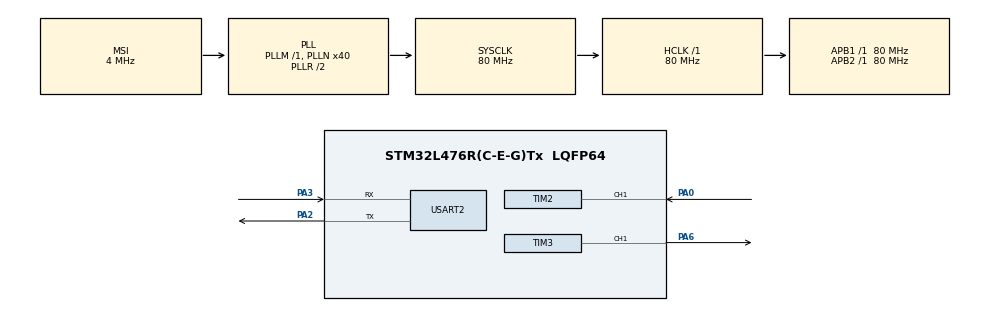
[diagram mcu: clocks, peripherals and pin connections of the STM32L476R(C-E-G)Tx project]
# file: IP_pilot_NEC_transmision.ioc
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Dma.Request0=TIM3_CH1/TRIG
Dma.TIM3_CH1/TRIG.0.Direction=DMA_MEMORY_TO_PERIPH
Dma.TIM3_CH1/TRIG.0.Instance=DMA1_Channel6
Dma.TIM3_CH1/TRIG.0.MemDataAlignment=DMA_MDATAALIGN_BYTE
Dma.TIM3_CH1/TRIG.0.MemInc=DMA_MINC_ENABLE
Dma.TIM3_CH1/TRIG.0.Mode=DMA_NORMAL
Dma.TIM3_CH1/TRIG.0.PeriphDataAlignment=DMA_PDATAALIGN_HALFWORD
Dma.TIM3_CH1/TRIG.0.PeriphInc=DMA_PINC_DISABLE
Dma.TIM3_CH1/TRIG.0.Priority=DMA_PRIORITY_LOW
Mcu.Family=STM32L4
Mcu.Name=STM32L476R(C-E-G)Tx
Mcu.Package=LQFP64
NVIC.DMA1_Channel6_IRQn=true\:0\:0\:false\:false\:true\:false\:true\:true
NVIC.PriorityGroup=NVIC_PRIORITYGROUP_4
NVIC.TIM2_IRQn=true\:0\:0\:false\:false\:true\:true\:true\:true
PA0.Signal=S_TIM2_CH1
PA13\ (JTMS-SWDIO).Mode=Serial_Wire
PA13\ (JTMS-SWDIO).Signal=SYS_JTMS-SWDIO
PA14\ (JTCK-SWCLK).Mode=Serial_Wire
PA14\ (JTCK-SWCLK).Signal=SYS_JTCK-SWCLK
PA2.Mode=Asynchronous
PA2.Signal=USART2_TX
PA3.Mode=Asynchronous
PA3.Signal=USART2_RX
PA6.Signal=S_TIM3_CH1
ProjectManager.HeapSize=0x200
ProjectManager.StackSize=0x400
ProjectManager.TargetToolchain=STM32CubeIDE
RCC.AHBFreq_Value=80000000
RCC.APB1Freq_Value=80000000
RCC.APB1TimFreq_Value=80000000
RCC.APB2Freq_Value=80000000
RCC.APB2TimFreq_Value=80000000
RCC.CortexFreq_Value=80000000
RCC.HCLKFreq_Value=80000000
RCC.HSE_VALUE=8000000
RCC.HSI_VALUE=16000000
RCC.LSE_VALUE=32768
RCC.MSI_VALUE=4000000
RCC.PLLN=40
RCC.SYSCLKFreq_VALUE=80000000
RCC.SYSCLKSource=RCC_SYSCLKSOURCE_PLLCLK
RCC.VCOOutputFreq_Value=160000000
SH.S_TIM2_CH1.0=TIM2_CH1,TriggerSource_TI1ED
SH.S_TIM2_CH1.1=TIM2_CH1,Input_Capture1_from_TI1
SH.S_TIM3_CH1.0=TIM3_CH1,PWM Generation1 CH1
TIM2.Channel-Input_Capture1_from_TI1=TIM_CHANNEL_1
TIM2.ICPolarity_CH1=TIM_INPUTCHANNELPOLARITY_FALLING
TIM2.Prescaler=79
TIM3.Channel-PWM\ Generation1\ CH1=TIM_CHANNEL_1
TIM3.Period=99
USART2.VirtualMode-Asynchronous=VM_ASYNC
VP_TIM2_VS_ClockSourceINT.Mode=Internal
VP_TIM2_VS_ControllerModeReset.Mode=Reset Mode
VP_TIM3_VS_ClockSourceINT.Mode=Internal
board=custom

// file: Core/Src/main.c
/* USER CODE BEGIN Header */
/**
  ******************************************************************************
  * @file           : main.c
  * @brief          : Main program body
  ******************************************************************************
  * @attention
  *
  * Copyright (c) 2024 STMicroelectronics.
  * All rights reserved.
  *
  * This software is licensed under terms that can be found in the LICENSE file
  * in the root directory of this software component.
  * If no LICENSE file comes with this software, it is provided AS-IS.
  *
  ******************************************************************************
  */
/* USER CODE END Header */
#include "main.h"
#include "dma.h"
#include "tim.h"
#include "usart.h"
#include "gpio.h"

/* USER CODE BEGIN Includes */
#include <stdio.h>
#include "ir.h"
#include "ws2812b.h"

/* USER CODE END Includes */

void SystemClock_Config(void);

/* USER CODE BEGIN 0 */

int __io_putchar(int ch)
{
  if (ch == '\n') {
    __io_putchar('\r');
  }

  HAL_UART_Transmit(&huart2, (uint8_t*)&ch, 1, HAL_MAX_DELAY);

  return 1;
}

void HAL_TIM_IC_CaptureCallback(TIM_HandleTypeDef *htim)
{
  if (htim == &htim2)
  {
    switch (HAL_TIM_GetActiveChannel(&htim2))
    {
      case HAL_TIM_ACTIVE_CHANNEL_1:
        ir_tim_interrupt();
        break;
      default:
        break;
    }
  }
}

/*
#define N_VAL   64
volatile pulse_t values[N_VAL];
int counter;

void HAL_TIM_IC_CaptureCallback(TIM_HandleTypeDef *htim)
{
  pulse_t new_val;

  if (htim == &htim2) {
    switch (HAL_TIM_GetActiveChannel(&htim2)) {
      case HAL_TIM_ACTIVE_CHANNEL_1:
        new_val = calc_pulse(HAL_TIM_ReadCapturedValue(htim, TIM_CHANNEL_1));
        if (counter < N_VAL)
          values[counter++] = new_val;
        else
          __BKPT(0);
        break;
      default:
        break;
    }
  }
}
*/

/* USER CODE END 0 */

int main(void)
{

  /* MCU Configuration--------------------------------------------------------*/

  /* Reset of all peripherals, Initializes the Flash interface and the Systick. */
  HAL_Init();

  /* Configure the system clock */
  SystemClock_Config();

  /* Initialize all configured peripherals */
  MX_GPIO_Init();
  MX_DMA_Init();
  MX_USART2_UART_Init();
  MX_TIM2_Init();
  MX_TIM3_Init();

  /* Infinite loop */
  /* USER CODE BEGIN WHILE */

  ws2812b_init();
  ir_init();

  while (1)
  {
    int value = ir_read();
    switch (value) {
    case IR_CODE_1:
      ws2812b_set_color(0, 255, 0, 0);
      ws2812b_update();
      break;
    case IR_CODE_2:
      ws2812b_set_color(0, 0, 255, 0);
      ws2812b_update();
      break;
    case IR_CODE_3:
      ws2812b_set_color(0, 0, 0, 255);
      ws2812b_update();
      break;
    case IR_CODE_ONOFF:
      ws2812b_set_color(0, 0, 0, 0);
      ws2812b_update();
      break;
    }

	  //wyświetla kod przycisku
	  /*
    int value = ir_read();
    if (value != -1) {
      printf("code = %02x\n", value);
    }*/
    /* USER CODE END WHILE */

  }
}

void SystemClock_Config(void)
{
  RCC_OscInitTypeDef RCC_OscInitStruct = {0};
  RCC_ClkInitTypeDef RCC_ClkInitStruct = {0};

  /** Configure the main internal regulator output voltage
  */
  if (HAL_PWREx_ControlVoltageScaling(PWR_REGULATOR_VOLTAGE_SCALE1) != HAL_OK)
  {
    Error_Handler();
  }

  /** Initializes the RCC Oscillators according to the specified parameters
  * in the RCC_OscInitTypeDef structure.
  */
  RCC_OscInitStruct.OscillatorType = RCC_OSCILLATORTYPE_MSI;
  RCC_OscInitStruct.MSIState = RCC_MSI_ON;
  RCC_OscInitStruct.MSICalibrationValue = 0;
  RCC_OscInitStruct.MSIClockRange = RCC_MSIRANGE_6;
  RCC_OscInitStruct.PLL.PLLState = RCC_PLL_ON;
  RCC_OscInitStruct.PLL.PLLSource = RCC_PLLSOURCE_MSI;
  RCC_OscInitStruct.PLL.PLLM = 1;
  RCC_OscInitStruct.PLL.PLLN = 40;
  RCC_OscInitStruct.PLL.PLLP = RCC_PLLP_DIV7;
  RCC_OscInitStruct.PLL.PLLQ = RCC_PLLQ_DIV2;
  RCC_OscInitStruct.PLL.PLLR = RCC_PLLR_DIV2;
  if (HAL_RCC_OscConfig(&RCC_OscInitStruct) != HAL_OK)
  {
    Error_Handler();
  }

  /** Initializes the CPU, AHB and APB buses clocks
  */
  RCC_ClkInitStruct.ClockType = RCC_CLOCKTYPE_HCLK|RCC_CLOCKTYPE_SYSCLK
                              |RCC_CLOCKTYPE_PCLK1|RCC_CLOCKTYPE_PCLK2;
  RCC_ClkInitStruct.SYSCLKSource = RCC_SYSCLKSOURCE_PLLCLK;
  RCC_ClkInitStruct.AHBCLKDivider = RCC_SYSCLK_DIV1;
  RCC_ClkInitStruct.APB1CLKDivider = RCC_HCLK_DIV1;
  RCC_ClkInitStruct.APB2CLKDivider = RCC_HCLK_DIV1;

  if (HAL_RCC_ClockConfig(&RCC_ClkInitStruct, FLASH_LATENCY_4) != HAL_OK)
  {
    Error_Handler();
  }
}

void Error_Handler(void)
{
  __disable_irq();
  while (1)
  {
  }
}
